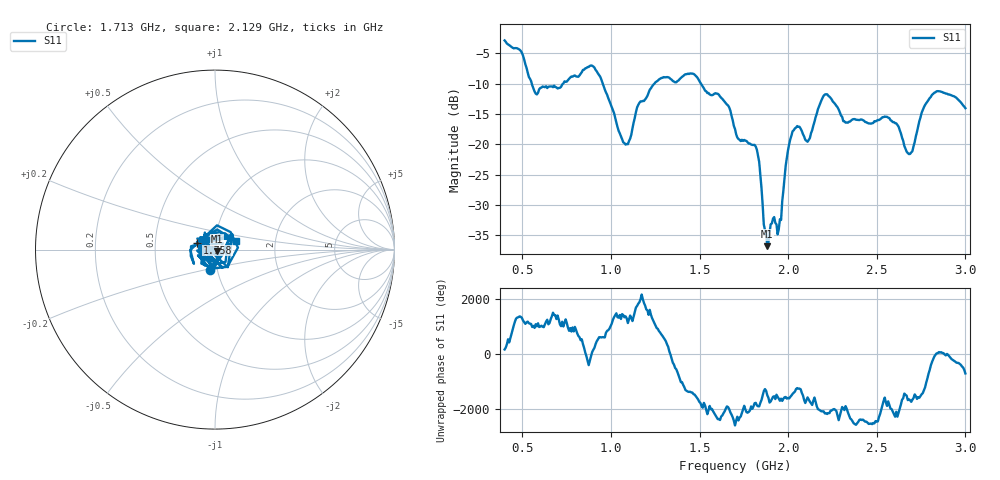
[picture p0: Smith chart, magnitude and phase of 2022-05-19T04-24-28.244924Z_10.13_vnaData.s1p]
!Created with skrf (http://scikit-rf.org).
# Hz S RI R 50.0
!freq ReS11 ImS11
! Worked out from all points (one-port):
!   401 points, 400 MHz to 3 GHz, reference 50 ohm
!   lowest |S11| = -36.8 dB at 1.882 GHz (marker M1), VSWR 1.03, Z = 51.1 - j0.987 ohm
!   |S11| at or under -10 dB: 553.6 MHz to 729.6 MHz (176 MHz wide, 27.4 % of centre); 954 MHz to 1.245 GHz (290.9 MHz wide, 26.5 % of centre); 1.508 GHz to end of sweep
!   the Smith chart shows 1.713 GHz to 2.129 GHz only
!   S11 on the Smith chart (normalised r, x): 1.713 GHz: 0.93, -0.21; 1.758 GHz: 0.82, +0.06; 2.129 GHz: 1.25, +0.12
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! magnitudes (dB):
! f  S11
! 400 MHz  -2.9
! 491 MHz  -4.6
! 575.5 MHz  -11.6
! 725 MHz  -10.1
! 900.5 MHz  -7.2
! 1.05 GHz  -18.2
! 1.095 GHz  -20.0
! 1.154 GHz  -13.5
! 1.258 GHz  -9.6
! 1.375 GHz  -9.6
! 1.46 GHz  -8.3
! 1.609 GHz  -11.8
! 1.7 GHz  -17.5
! 1.713 GHz  -18.9
! 1.758 GHz  -19.4
! 1.823 GHz  -20.9
! 1.869 GHz  -34.1
! 1.882 GHz  -36.8
! 1.954 GHz  -32.3
! 1.992 GHz  -22.2
! 2.025 GHz  -17.8
! 2.129 GHz  -18.1
! 2.213 GHz  -11.7
! 2.35 GHz  -16.2
! 2.558 GHz  -15.5
! 2.675 GHz  -21.4
! 2.825 GHz  -11.5
! 3 GHz  -14.0
